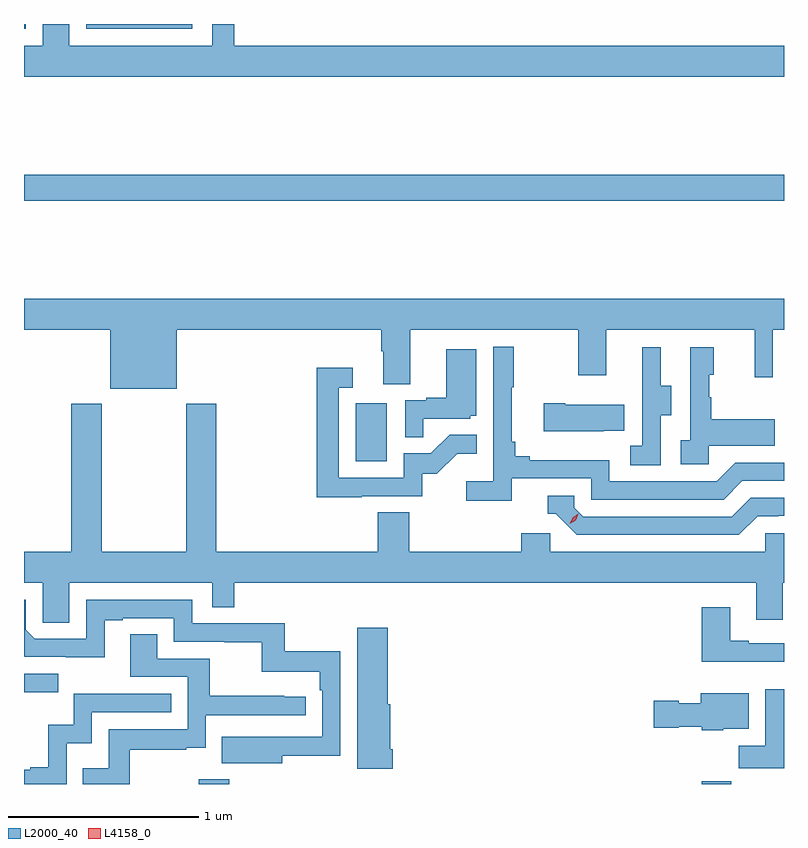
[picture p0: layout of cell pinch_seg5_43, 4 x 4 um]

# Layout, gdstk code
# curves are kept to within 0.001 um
import gdstk
lib = gdstk.Library(unit=1e-6, precision=1e-09)
def R(c, l, rs):  # rectangles x0, y0, x1, y1
    for r in rs: c.add(gdstk.rectangle(r[:2], r[2:], *l))
def P(c, l, *ps):  # polygons
    for p in ps: c.add(gdstk.Polygon(p, *l))
L2000_40 = (2000, 40)
L4158_0 = (4158, 0)

pinch_seg5_43 = lib.new_cell('pinch_seg5_43')
R(pinch_seg5_43, L2000_40, [(1083.13,904.986,1083.29,905.011), (1085.777,904.986,1085.933,905), (1082.211,905.468,1082.392,905.565), (1083.956,906.684,1084.12,906.991), (1082.211,908.056,1086.211,908.192), (1082.211,908.961,1082.22,908.986), (1082.538,908.961,1083.096,908.986)])
P(pinch_seg5_43, L2000_40, [(1086.211,908.872),(1083.317,908.872),(1083.317,908.986),(1083.201,908.986),(1083.201,908.872),(1082.449,908.872),(1082.449,908.986),(1082.31,908.986),(1082.31,908.872),(1082.211,908.872),(1082.211,908.708),(1086.211,908.708)],
  [(1083.016,907.376),(1084.091,907.376),(1084.091,907.264),(1084.103,907.264),(1084.103,907.09),(1084.243,907.09),(1084.243,907.376),(1085.128,907.376),(1085.128,907.137),(1085.275,907.137),(1085.275,907.376),(1086.056,907.376),(1086.056,907.128),(1086.153,907.128),(1086.153,907.376),(1086.211,907.376),(1086.211,907.54),(1082.211,907.54),(1082.211,907.376),(1082.666,907.376),(1082.666,907.067),(1083.016,907.067)],
  [(1084.778,906.594),(1085.196,906.594),(1085.196,906.483),(1085.893,906.483),(1085.992,906.582),(1086.211,906.582),(1086.211,906.678),(1085.955,906.678),(1085.856,906.579),(1085.292,906.579),(1085.292,906.691),(1084.873,906.691),(1084.873,906.71),(1084.796,906.71),(1084.796,906.787),(1084.777,906.787),(1084.777,907.075),(1084.789,907.075),(1084.789,907.288),(1084.68,907.288),(1084.68,906.58),(1084.539,906.58),(1084.539,906.478),(1084.778,906.478)],
  [(1085.814,906.767),(1086.161,906.767),(1086.161,906.907),(1085.827,906.907),(1085.827,907.022),(1085.817,907.022),(1085.817,907.14),(1085.842,907.14),(1085.842,907.285),(1085.718,907.285),(1085.718,906.794),(1085.667,906.794),(1085.667,906.669),(1085.814,906.669)],
  [(1085.562,906.928),(1085.617,906.928),(1085.617,907.083),(1085.563,907.083),(1085.563,907.285),(1085.465,907.285),(1085.465,907.071),(1085.466,907.071),(1085.466,906.767),(1085.403,906.767),(1085.403,906.664),(1085.562,906.664)],
  [(1084.313,906.909),(1084.56,906.909),(1084.56,906.924),(1084.591,906.924),(1084.591,907.273),(1084.433,907.273),(1084.433,907.018),(1084.329,907.018),(1084.329,907.005),(1084.218,907.005),(1084.218,906.811),(1084.313,906.811)],
  [(1083.989,906.501),(1084.308,906.501),(1084.308,906.618),(1084.384,906.618),(1084.491,906.725),(1084.595,906.725),(1084.595,906.824),(1084.451,906.824),(1084.353,906.726),(1084.209,906.726),(1084.209,906.597),(1083.867,906.597),(1083.867,907.071),(1083.94,907.071),(1083.94,907.177),(1083.751,907.177),(1083.751,906.496),(1083.989,906.496)],
  [(1085.261,906.845),(1085.369,906.845),(1085.369,906.982),(1085.059,906.982),(1085.059,906.99),(1084.947,906.99),(1084.947,906.842),(1085.261,906.842)],
  [(1082.211,906.044),(1082.31,906.044),(1082.31,905.836),(1082.449,905.836),(1082.449,906.044),(1083.201,906.044),(1083.201,905.917),(1083.317,905.917),(1083.317,906.044),(1086.065,906.044),(1086.065,905.85),(1086.205,905.85),(1086.205,906.044),(1086.211,906.044),(1086.211,906.306),(1086.111,906.306),(1086.111,906.208),(1084.98,906.208),(1084.98,906.306),(1084.829,906.306),(1084.829,906.208),(1084.238,906.208),(1084.238,906.416),(1084.073,906.416),(1084.073,906.208),(1083.224,906.208),(1083.224,906.988),(1083.064,906.988),(1083.064,906.208),(1082.619,906.208),(1082.619,906.988),(1082.459,906.988),(1082.459,906.208),(1082.211,906.208)],
  [(1086.073,906.396),(1086.18,906.396),(1086.18,906.399),(1086.211,906.399),(1086.211,906.492),(1086.036,906.492),(1085.937,906.393),(1085.154,906.393),(1085.106,906.441),(1085.106,906.504),(1084.967,906.504),(1084.967,906.408),(1085.01,906.408),(1085.121,906.297),(1085.974,906.297)],
  [(1083.571,905.134),(1083.876,905.134),(1083.876,905.686),(1083.583,905.686),(1083.583,905.832),(1083.096,905.832),(1083.096,905.955),(1082.538,905.955),(1082.538,905.751),(1082.268,905.751),(1082.22,905.799),(1082.22,905.955),(1082.211,905.955),(1082.211,905.658),(1082.214,905.655),(1082.635,905.654),(1082.635,905.847),(1082.731,905.847),(1082.731,905.859),(1083,905.859),(1083,905.736),(1083.265,905.736),(1083.265,905.731),(1083.462,905.731),(1083.462,905.576),(1083.767,905.576),(1083.767,905.48),(1083.78,905.48),(1083.78,905.235),(1083.253,905.236),(1083.253,905.096),(1083.571,905.096)],
  [(1086.211,905.727),(1086.025,905.727),(1086.025,905.74),(1085.929,905.74),(1085.929,905.917),(1085.777,905.917),(1085.777,905.63),(1086.211,905.63)],
  [(1084.151,905.17),(1084.138,905.17),(1084.138,905.406),(1084.126,905.406),(1084.126,905.809),(1083.965,905.809),(1083.965,905.066),(1084.151,905.066)],
  [(1082.767,905.166),(1083.065,905.166),(1083.065,905.177),(1083.168,905.177),(1083.168,905.349),(1083.694,905.349),(1083.694,905.445),(1083.581,905.445),(1083.581,905.45),(1083.188,905.45),(1083.188,905.646),(1082.911,905.646),(1082.911,905.774),(1082.771,905.774),(1082.771,905.55),(1083.072,905.55),(1083.072,905.274),(1082.656,905.274),(1082.656,905.068),(1082.521,905.068),(1082.521,904.986),(1082.767,904.986)],
  [(1086.211,905.485),(1086.113,905.485),(1086.113,905.188),(1085.974,905.188),(1085.974,905.07),(1086.211,905.07)],
  [(1085.892,905.276),(1086.025,905.276),(1086.025,905.464),(1085.774,905.464),(1085.774,905.41),(1085.658,905.41),(1085.658,905.423),(1085.526,905.423),(1085.526,905.281),(1085.658,905.281),(1085.658,905.288),(1085.778,905.288),(1085.778,905.27),(1085.892,905.27)],
  [(1082.436,905.201),(1082.568,905.201),(1082.568,905.364),(1082.987,905.364),(1082.987,905.46),(1082.472,905.46),(1082.472,905.299),(1082.339,905.299),(1082.339,905.074),(1082.243,905.074),(1082.243,905.061),(1082.211,905.061),(1082.211,904.986),(1082.436,904.986)])
P(pinch_seg5_43, L4158_0, [(1085.083,906.355),(1085.083,906.355),(1085.098,906.388),(1085.129,906.408),(1085.129,906.408),(1085.129,906.408),(1085.114,906.375),(1085.083,906.355)])

lib.write_gds('pinch_seg5_43.gds')
